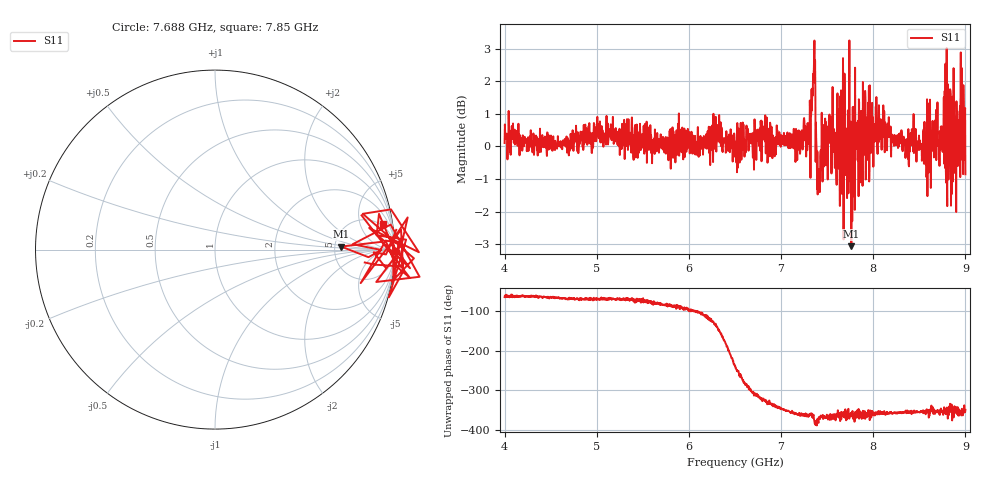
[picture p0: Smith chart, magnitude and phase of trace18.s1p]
! Created with skrf 1.8.0 (http://scikit-rf.org).
# Hz S RI R 50.0
!freq ReS11 ImS11
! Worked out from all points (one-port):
!   1601 points, 4 GHz to 9 GHz, reference 50 ohm
!   lowest |S11| = -3.1 dB at 7.762 GHz (marker M1), VSWR 5.73, Z = 285 + j19.1 ohm
!   |S11| at or under -10 dB: nowhere
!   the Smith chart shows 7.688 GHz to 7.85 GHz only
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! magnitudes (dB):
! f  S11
! 4 GHz  0.1
! 4.625 GHz  -0.1
! 5.25 GHz  -0.3
! 5.875 GHz  0.3
! 6.331 GHz  0.4
! 6.5 GHz  -0.1
! 6.803 GHz  0.6
! 6.925 GHz  0.1
! 7.125 GHz  0.3
! 7.294 GHz  0.1
! 7.347 GHz  2.2
! 7.369 GHz  2.6
! 7.397 GHz  -1.5
! 7.412 GHz  -1.4
! 7.516 GHz  0.1
! 7.612 GHz  1.6
! 7.666 GHz  0.7
! 7.75 GHz  -0.4
! 7.762 GHz  -3.1
! 7.769 GHz  -0.7
! 7.828 GHz  0.3
! 7.962 GHz  1.9
! 8.375 GHz  -0.1
! 8.734 GHz  0.6
! 8.788 GHz  -0.8
! 8.869 GHz  -0.3
! 8.972 GHz  0.2
! 9 GHz  -0.9
